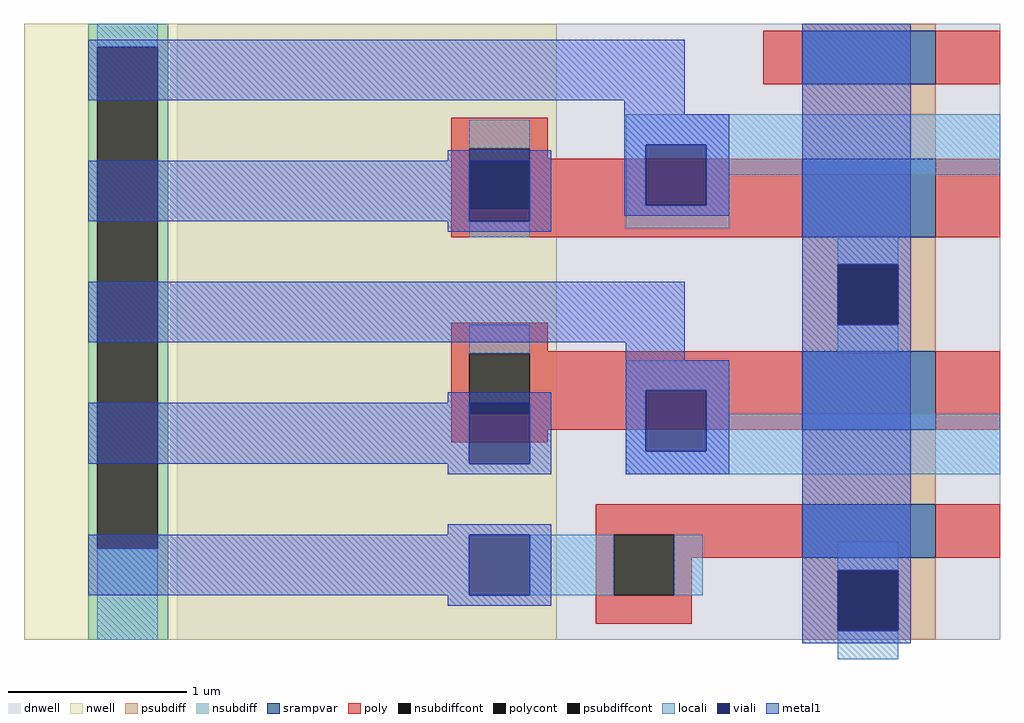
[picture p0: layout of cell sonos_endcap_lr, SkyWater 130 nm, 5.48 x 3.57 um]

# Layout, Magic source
magic
tech sky130A
<< dnwell >>
rect -462 -212 0 134
<< nwell >>
rect -548 -212 -249 134
<< srampvar >>
rect -111 100 -36 130
rect -111 14 -36 58
rect -111 -94 -36 -50
rect -111 -166 -36 -136
<< psubdiff >>
rect -111 130 -36 134
rect -111 58 -36 100
rect -111 -1 -36 14
rect -111 -35 -91 -1
rect -57 -35 -36 -1
rect -111 -50 -36 -35
rect -111 -136 -36 -94
rect -111 -173 -36 -166
rect -111 -207 -91 -173
rect -57 -207 -36 -173
rect -111 -212 -36 -207
<< nsubdiff >>
rect -512 121 -467 134
rect -512 -161 -507 121
rect -473 -161 -467 121
rect -512 -212 -467 -161
<< psubdiffcont >>
rect -91 -35 -57 -1
rect -91 -207 -57 -173
<< nsubdiffcont >>
rect -507 -161 -473 121
<< poly >>
rect -133 100 -111 130
rect -36 100 0 130
rect -308 64 -254 81
rect -308 30 -298 64
rect -264 58 -254 64
rect -264 30 -111 58
rect -308 14 -111 30
rect -36 14 0 58
rect -308 -50 -254 -34
rect -308 -51 -111 -50
rect -308 -85 -298 -51
rect -264 -85 -111 -51
rect -308 -94 -111 -85
rect -36 -94 0 -50
rect -308 -101 -254 -94
rect -227 -153 -111 -136
rect -227 -187 -217 -153
rect -183 -166 -111 -153
rect -36 -166 0 -136
rect -183 -187 -173 -166
rect -227 -203 -173 -187
<< polycont >>
rect -298 30 -264 64
rect -298 -85 -264 -51
rect -217 -187 -183 -153
<< locali >>
rect -507 121 -473 134
rect -298 64 -264 80
rect -298 14 -264 23
rect -210 66 0 83
rect -210 32 -199 66
rect -165 49 0 66
rect -165 32 -152 49
rect -210 19 -152 32
rect -91 -1 -57 15
rect -298 -51 -264 -35
rect -91 -51 -57 -35
rect -210 -72 -152 -55
rect -210 -106 -199 -72
rect -165 -85 -152 -72
rect -165 -106 0 -85
rect -210 -119 0 -106
rect -507 -212 -473 -161
rect -264 -187 -217 -153
rect -183 -187 -167 -153
rect -91 -173 -57 -157
rect -91 -223 -57 -207
<< viali >>
rect -298 30 -264 57
rect -298 23 -264 30
rect -199 32 -165 66
rect -91 -35 -57 -1
rect -298 -85 -264 -79
rect -298 -113 -264 -85
rect -199 -106 -165 -72
rect -298 -187 -264 -153
rect -91 -207 -57 -173
<< metal1 >>
rect -512 91 -177 125
rect -211 83 -177 91
rect -211 66 -152 83
rect -310 57 -252 63
rect -512 23 -298 57
rect -264 23 -252 57
rect -211 32 -199 66
rect -165 32 -152 66
rect -211 26 -152 32
rect -310 17 -252 23
rect -111 -1 -50 134
rect -512 -45 -177 -11
rect -210 -55 -177 -45
rect -111 -35 -91 -1
rect -57 -35 -50 -1
rect -210 -72 -152 -55
rect -310 -79 -252 -73
rect -512 -113 -298 -79
rect -264 -113 -252 -79
rect -310 -119 -252 -113
rect -210 -106 -199 -72
rect -165 -106 -152 -72
rect -210 -119 -152 -106
rect -310 -153 -252 -147
rect -512 -187 -298 -153
rect -264 -187 -252 -153
rect -310 -193 -252 -187
rect -111 -173 -50 -35
rect -111 -207 -91 -173
rect -57 -207 -50 -173
rect -111 -214 -50 -207
<< end >>
